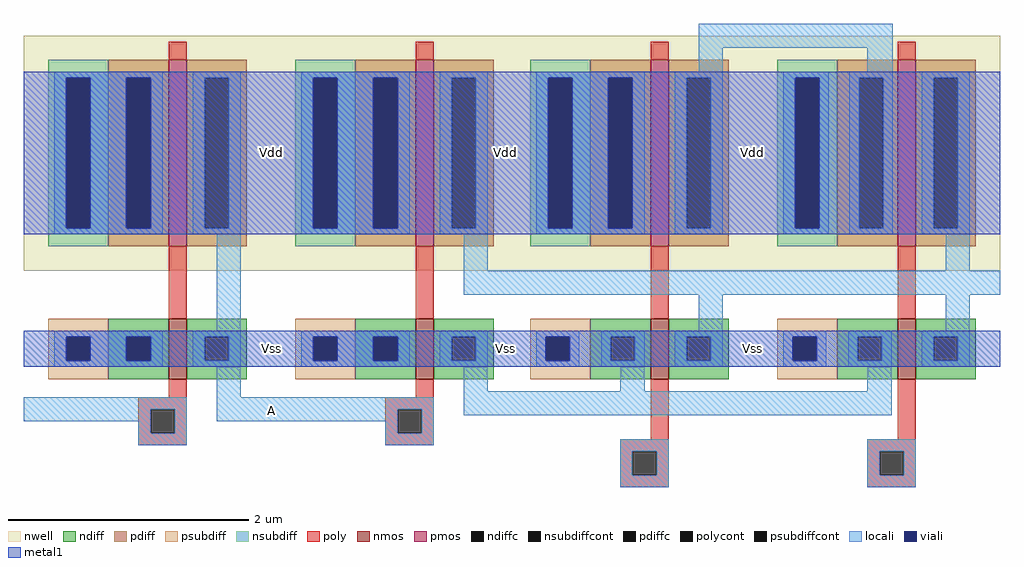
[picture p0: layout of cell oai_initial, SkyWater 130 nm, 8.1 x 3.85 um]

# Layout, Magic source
magic
tech sky130A
<< nwell >>
rect 205 145 810 340
<< nmos >>
rect 325 55 340 105
rect 520 55 535 105
rect 725 55 740 105
<< pmos >>
rect 325 165 340 320
rect 520 165 535 320
rect 725 165 740 320
<< ndiff >>
rect 275 90 325 105
rect 275 70 290 90
rect 310 70 325 90
rect 275 55 325 70
rect 340 90 390 105
rect 340 70 355 90
rect 375 70 390 90
rect 340 55 390 70
rect 470 90 520 105
rect 470 70 487 90
rect 507 70 520 90
rect 470 55 520 70
rect 535 90 585 105
rect 535 70 550 90
rect 570 70 585 90
rect 535 55 585 70
rect 675 90 725 105
rect 675 70 692 90
rect 712 70 725 90
rect 675 55 725 70
rect 740 90 790 105
rect 740 70 755 90
rect 775 70 790 90
rect 740 55 790 70
<< pdiff >>
rect 275 305 325 320
rect 275 180 290 305
rect 310 180 325 305
rect 275 165 325 180
rect 340 305 390 320
rect 340 180 355 305
rect 375 180 390 305
rect 340 165 390 180
rect 470 305 520 320
rect 470 180 485 305
rect 505 180 520 305
rect 470 165 520 180
rect 535 305 585 320
rect 535 180 550 305
rect 570 180 585 305
rect 535 165 585 180
rect 675 305 725 320
rect 675 180 693 305
rect 713 180 725 305
rect 675 165 725 180
rect 740 305 790 320
rect 740 180 755 305
rect 775 180 790 305
rect 740 165 790 180
<< ndiffc >>
rect 290 70 310 90
rect 355 70 375 90
rect 487 70 507 90
rect 550 70 570 90
rect 692 70 712 90
rect 755 70 775 90
<< pdiffc >>
rect 290 180 310 305
rect 355 180 375 305
rect 485 180 505 305
rect 550 180 570 305
rect 693 180 713 305
rect 755 180 775 305
<< psubdiff >>
rect 225 90 275 105
rect 225 70 240 90
rect 260 70 275 90
rect 225 55 275 70
rect 420 90 470 105
rect 420 70 433 90
rect 453 70 470 90
rect 420 55 470 70
rect 625 90 675 105
rect 625 70 638 90
rect 658 70 675 90
rect 625 55 675 70
<< nsubdiff >>
rect 225 305 275 320
rect 225 180 240 305
rect 260 180 275 305
rect 225 165 275 180
rect 420 305 470 320
rect 420 180 435 305
rect 455 180 470 305
rect 420 165 470 180
rect 625 305 675 320
rect 625 180 640 305
rect 660 180 675 305
rect 625 165 675 180
<< psubdiffcont >>
rect 240 70 260 90
rect 433 70 453 90
rect 638 70 658 90
<< nsubdiffcont >>
rect 240 180 260 305
rect 435 180 455 305
rect 640 180 660 305
<< poly >>
rect 325 320 340 335
rect 520 320 535 335
rect 725 320 740 335
rect 325 105 340 165
rect 520 105 535 165
rect 725 105 740 165
rect 325 40 340 55
rect 300 30 340 40
rect 300 10 310 30
rect 330 10 340 30
rect 300 0 340 10
rect 520 5 535 55
rect 725 5 740 55
rect 495 -5 535 5
rect 495 -25 505 -5
rect 525 -25 535 -5
rect 495 -35 535 -25
rect 700 -5 740 5
rect 700 -25 710 -5
rect 730 -25 740 -5
rect 700 -35 740 -25
<< polycont >>
rect 310 10 330 30
rect 505 -25 525 -5
rect 710 -25 730 -5
<< locali >>
rect 560 330 721 350
rect 560 310 580 330
rect 700 310 721 330
rect 230 305 320 310
rect 230 180 240 305
rect 260 180 290 305
rect 310 180 320 305
rect 230 175 320 180
rect 345 305 385 310
rect 345 180 355 305
rect 375 180 385 305
rect 345 175 385 180
rect 425 305 515 310
rect 425 180 435 305
rect 455 180 485 305
rect 505 180 515 305
rect 425 175 515 180
rect 540 305 580 310
rect 540 180 550 305
rect 570 180 580 305
rect 540 175 580 180
rect 630 305 668 310
rect 630 180 640 305
rect 660 180 668 305
rect 630 175 668 180
rect 685 305 721 310
rect 685 180 693 305
rect 713 180 721 305
rect 685 175 721 180
rect 745 305 785 310
rect 745 180 755 305
rect 775 180 785 305
rect 745 175 785 180
rect 365 145 385 175
rect 765 145 785 175
rect 365 125 810 145
rect 560 95 580 125
rect 765 95 785 125
rect 230 90 320 95
rect 230 70 240 90
rect 260 70 290 90
rect 310 70 320 90
rect 230 65 320 70
rect 345 90 385 95
rect 345 70 355 90
rect 375 70 385 90
rect 345 65 385 70
rect 425 90 461 95
rect 425 70 433 90
rect 453 70 461 90
rect 425 65 461 70
rect 479 90 515 95
rect 479 70 487 90
rect 507 70 515 90
rect 479 65 515 70
rect 540 90 580 95
rect 540 70 550 90
rect 570 70 580 90
rect 540 65 580 70
rect 630 90 666 95
rect 630 70 638 90
rect 658 70 666 90
rect 630 65 666 70
rect 684 90 720 95
rect 684 70 692 90
rect 712 70 720 90
rect 684 65 720 70
rect 745 90 785 95
rect 745 70 755 90
rect 775 70 785 90
rect 745 65 785 70
rect 365 45 385 65
rect 495 45 515 65
rect 700 45 720 65
rect 205 30 340 40
rect 205 20 310 30
rect 300 10 310 20
rect 330 10 340 30
rect 365 25 720 45
rect 300 0 340 10
rect 495 -5 535 5
rect 495 -25 505 -5
rect 525 -25 535 -5
rect 495 -35 535 -25
rect 700 -5 740 5
rect 700 -25 710 -5
rect 730 -25 740 -5
rect 700 -35 740 -25
<< viali >>
rect 240 180 260 305
rect 290 180 310 305
rect 435 180 455 305
rect 485 180 505 305
rect 640 180 660 305
rect 240 70 260 90
rect 290 70 310 90
rect 433 70 453 90
rect 638 70 658 90
<< metal1 >>
rect 205 305 810 310
rect 205 180 240 305
rect 260 180 290 305
rect 310 180 435 305
rect 455 180 485 305
rect 505 180 640 305
rect 660 180 810 305
rect 205 175 810 180
rect 205 90 810 95
rect 205 70 240 90
rect 260 70 290 90
rect 310 70 433 90
rect 453 70 638 90
rect 658 70 810 90
rect 205 65 810 70
use inverter  inverter_0
transform 1 0 120 0 1 55
box -120 -55 85 285
<< labels >>
rlabel metal1 400 243 400 243 7 Vdd
port 3 w
rlabel metal1 605 243 605 243 7 Vdd
port 3 w
rlabel metal1 605 80 605 80 7 Vss
port 2 w
rlabel metal1 400 80 400 80 7 Vss
port 2 w
rlabel metal1 205 80 205 80 7 Vss
port 2 w
rlabel locali 205 29 205 29 7 A
port 1 w
rlabel metal1 205 243 205 243 7 Vdd
port 3 w
<< end >>

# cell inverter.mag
magic
tech sky130A
<< nwell >>
rect -120 90 85 285
<< nmos >>
rect 0 0 15 50
<< pmos >>
rect 0 110 15 265
<< ndiff >>
rect -50 35 0 50
rect -50 15 -35 35
rect -15 15 0 35
rect -50 0 0 15
rect 15 35 65 50
rect 15 15 30 35
rect 50 15 65 35
rect 15 0 65 15
<< pdiff >>
rect -50 250 0 265
rect -50 125 -35 250
rect -15 125 0 250
rect -50 110 0 125
rect 15 250 65 265
rect 15 125 30 250
rect 50 125 65 250
rect 15 110 65 125
<< ndiffc >>
rect -35 15 -15 35
rect 30 15 50 35
<< pdiffc >>
rect -35 125 -15 250
rect 30 125 50 250
<< psubdiff >>
rect -100 35 -50 50
rect -100 15 -85 35
rect -65 15 -50 35
rect -100 0 -50 15
<< nsubdiff >>
rect -100 250 -50 265
rect -100 125 -85 250
rect -65 125 -50 250
rect -100 110 -50 125
<< psubdiffcont >>
rect -85 15 -65 35
<< nsubdiffcont >>
rect -85 125 -65 250
<< poly >>
rect 0 265 15 280
rect 0 50 15 110
rect 0 -15 15 0
rect -25 -25 15 -15
rect -25 -45 -15 -25
rect 5 -45 15 -25
rect -25 -55 15 -45
<< polycont >>
rect -15 -45 5 -25
<< locali >>
rect -95 250 -5 255
rect -95 125 -85 250
rect -65 125 -35 250
rect -15 125 -5 250
rect -95 120 -5 125
rect 20 250 60 255
rect 20 125 30 250
rect 50 125 60 250
rect 20 120 60 125
rect 40 40 60 120
rect -95 35 -5 40
rect -95 15 -85 35
rect -65 15 -35 35
rect -15 15 -5 35
rect -95 10 -5 15
rect 20 35 60 40
rect 20 15 30 35
rect 50 15 60 35
rect 20 10 60 15
rect 40 -15 60 10
rect -120 -25 15 -15
rect -120 -35 -15 -25
rect -25 -45 -15 -35
rect 5 -45 15 -25
rect 40 -35 85 -15
rect -25 -55 15 -45
<< viali >>
rect -85 125 -65 250
rect -35 125 -15 250
rect -85 15 -65 35
rect -35 15 -15 35
<< metal1 >>
rect -120 250 85 255
rect -120 125 -85 250
rect -65 125 -35 250
rect -15 125 85 250
rect -120 120 85 125
rect -120 35 85 40
rect -120 15 -85 35
rect -65 15 -35 35
rect -15 15 85 35
rect -120 10 85 15
<< labels >>
rlabel locali -120 -26 -120 -26 7 A
port 1 w
rlabel metal1 -120 25 -120 25 7 Vss
port 2 w
rlabel metal1 -120 188 -120 188 7 Vdd
port 3 w
rlabel locali 85 -25 85 -25 3 Y
port 4 e
<< end >>
